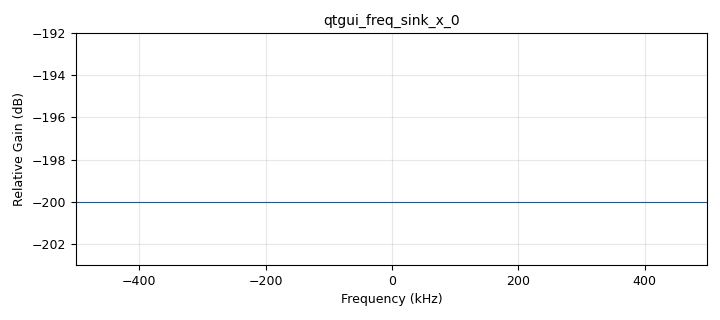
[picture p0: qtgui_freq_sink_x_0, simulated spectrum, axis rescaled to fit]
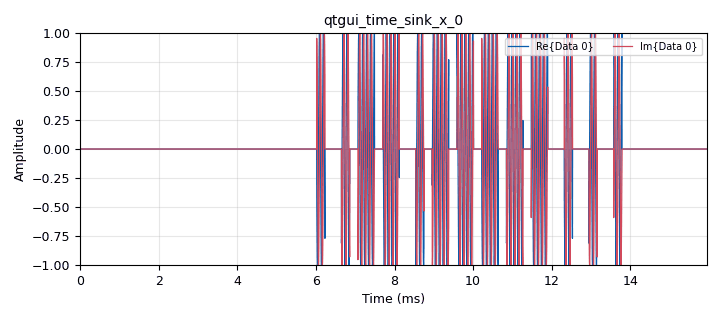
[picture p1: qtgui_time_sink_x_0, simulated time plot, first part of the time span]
options:
  parameters:
    author: Ben Cometto
    description: Turns on and off the fan in the classroom
    generate_options: qt_gui
    id: fan_toggle
    output_language: python
    title: Fan Toggle
  states: {}

blocks:
- name: bit_interval
  id: variable
  parameters:
    value: '0.00063'
  states: {}
- name: code
  id: variable_qtgui_chooser
  parameters:
    label: Code Option
    label0: None
    label1: Toggle Light
    label2: Toggle Fan
    num_opts: '3'
    option0: '0'
    option1: '1'
    option2: '2'
    type: int
    value: '1'
  states: {}
- name: code_end
  id: variable
  parameters:
    value: (0,1,1,1,1,1,1,1)
  states: {}
- name: code_fan
  id: variable
  parameters:
    value: (0,0,0,0,0,1,1,0)
  states: {}
- name: code_light
  id: variable
  parameters:
    value: (0,0,0,0,0,1,1,1)
  states: {}
- name: device_code
  id: variable
  parameters:
    value: (1,0,0,1)
  states: {}
- name: end_message
  id: variable
  parameters:
    value: (1,) + device_code + code_end
  states: {}
- name: f_carrier
  id: variable
  parameters:
    value: '349990000'
  states: {}
- name: f_data
  id: variable
  parameters:
    value: '10000'
  states: {}
- name: long_waiting
  id: variable
  parameters:
    value: 10*waiting
  states: {}
- name: message
  id: variable
  parameters:
    value: 'waiting if code == 0 else ( (1,) + device_code + (code_light if code == 1 else code_fan)) '
  states: {}
- name: repeat_for_time
  id: variable
  parameters:
    value: int(samp_rate/3*bit_interval)
  states: {}
- name: samp_rate
  id: variable
  parameters:
    value: '1000000'
  states: {}
- name: waiting
  id: variable
  parameters:
    value: ' tuple(2 for x in range(10))'
  states: {}
- name: analog_const_source_x_0
  id: analog_const_source_x
  parameters:
    const: '0'
    type: float
  states: {}
- name: analog_sig_source_x_1
  id: analog_sig_source_x
  parameters:
    amp: '1'
    freq: f_data
    offset: '0'
    phase: '0'
    samp_rate: samp_rate
    type: complex
    waveform: analog.GR_COS_WAVE
  states: {}
- name: blocks_float_to_complex_0
  id: blocks_float_to_complex
  parameters: {}
  states: {}
- name: blocks_multiply_xx_0
  id: blocks_multiply_xx
  parameters:
    type: complex
  states: {}
- name: blocks_repeat_0
  id: blocks_repeat
  parameters:
    interp: repeat_for_time
    type: byte
  states: {}
- name: blocks_throttle2_0
  id: blocks_throttle2
  parameters:
    samples_per_second: samp_rate
    type: complex
  states: {}
- name: blocks_uchar_to_float_0
  id: blocks_uchar_to_float
  parameters: {}
  states: {}
- name: blocks_unpack_k_bits_bb_0
  id: blocks_unpack_k_bits_bb
  parameters:
    k: '3'
  states: {}
- name: blocks_vector_source_x_0
  id: blocks_vector_source_x
  parameters:
    repeat: 'True'
    type: byte
    vector: 15*(message + waiting) + 3*(end_message+waiting) + long_waiting
  states: {}
- name: digital_map_bb_0
  id: digital_map_bb
  parameters:
    map: '[3, 1,0]'
  states: {}
- name: osmosdr_sink_0
  id: osmosdr_sink
  parameters:
    args: '"hackrf=0"'
    bb_gain0: '20'
    freq0: f_carrier
    gain0: '10'
    if_gain0: '20'
    sample_rate: samp_rate
    sync: sync
    type: fc32
  states: {state: disabled}
- name: qtgui_freq_sink_x_0
  id: qtgui_freq_sink_x
  parameters:
    bw: samp_rate
    fc: '0'
    fftsize: '512'
    type: complex
  states: {}
- name: qtgui_time_sink_x_0
  id: qtgui_time_sink_x
  parameters:
    ctrlpanel: 'True'
    size: int(samp_rate*10)
    srate: samp_rate
    type: complex
  states: {}
- name: qtgui_time_sink_x_0_0
  id: qtgui_time_sink_x
  parameters:
    ctrlpanel: 'True'
    size: samp_rate*5
    srate: samp_rate
    type: float
  states: {state: disabled}
- name: soapy_hackrf_sink_0
  id: soapy_hackrf_sink
  parameters:
    center_freq: f_carrier
    samp_rate: samp_rate
    type: fc32
  states: {state: disabled}
- name: uhd_usrp_sink_0
  id: uhd_usrp_sink
  parameters:
    ant0: '"TX/RX"'
    center_freq0: f_carrier
    gain0: '70'
    samp_rate: samp_rate
    sync: none
    type: fc32
  states: {state: disabled}

connections:
- [analog_const_source_x_0, '0', blocks_float_to_complex_0, '1']
- [analog_sig_source_x_1, '0', blocks_throttle2_0, '0']
- [blocks_float_to_complex_0, '0', blocks_multiply_xx_0, '1']
- [blocks_multiply_xx_0, '0', osmosdr_sink_0, '0']
- [blocks_multiply_xx_0, '0', qtgui_freq_sink_x_0, '0']
- [blocks_multiply_xx_0, '0', qtgui_time_sink_x_0, '0']
- [blocks_multiply_xx_0, '0', soapy_hackrf_sink_0, '0']
- [blocks_multiply_xx_0, '0', uhd_usrp_sink_0, '0']
- [blocks_repeat_0, '0', blocks_uchar_to_float_0, '0']
- [blocks_throttle2_0, '0', blocks_multiply_xx_0, '0']
- [blocks_uchar_to_float_0, '0', blocks_float_to_complex_0, '0']
- [blocks_uchar_to_float_0, '0', qtgui_time_sink_x_0_0, '0']
- [blocks_unpack_k_bits_bb_0, '0', blocks_repeat_0, '0']
- [blocks_vector_source_x_0, '0', digital_map_bb_0, '0']
- [digital_map_bb_0, '0', blocks_unpack_k_bits_bb_0, '0']

metadata:
  file_format: 1
  grc_version: 3.10.10.0
